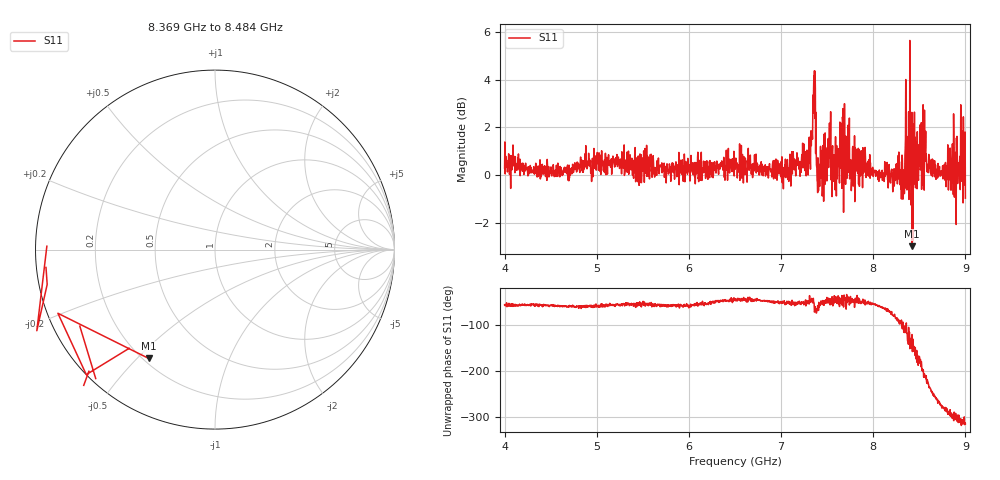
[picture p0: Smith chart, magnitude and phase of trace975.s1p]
! Created with skrf 1.8.0 (http://scikit-rf.org).
# Hz S RI R 50.0
!freq ReS11 ImS11
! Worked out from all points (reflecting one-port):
!   1601 points, 4 GHz to 9 GHz, reference 50 ohm
!   lowest |S11| = -3.0 dB at 8.422 GHz (marker M1), VSWR 5.90, Z = 11.1 - j27.1 ohm
!   phase of S11 starts at -57 deg and turns -257 deg over the sweep
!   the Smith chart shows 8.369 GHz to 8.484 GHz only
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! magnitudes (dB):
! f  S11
! 4 GHz  0.3
! 4.625 GHz  0.0
! 5.25 GHz  0.3
! 5.875 GHz  0.3
! 6.5 GHz  0.5
! 7.125 GHz  0.5
! 7.294 GHz  0.0
! 7.316 GHz  0.7
! 7.347 GHz  3.4
! 7.369 GHz  4.4
! 7.409 GHz  0.5
! 7.512 GHz  1.5
! 7.609 GHz  0.6
! 7.662 GHz  0.8
! 7.75 GHz  0.6
! 7.769 GHz  -0.3
! 7.822 GHz  0.2
! 8.316 GHz  0.7
! 8.375 GHz  -0.2
! 8.422 GHz  -3.0
! 8.447 GHz  2.6
! 8.459 GHz  -0.5
! 8.491 GHz  -0.2
! 8.544 GHz  2.1
! 8.606 GHz  0.3
! 8.769 GHz  0.0
! 8.972 GHz  0.4
! 9 GHz  -1.0
